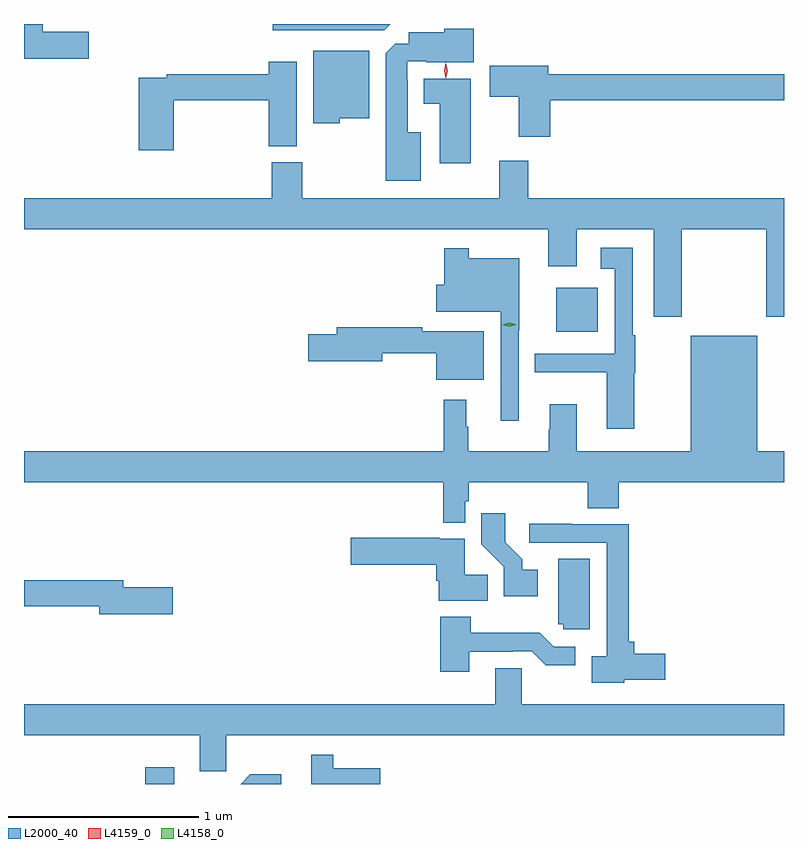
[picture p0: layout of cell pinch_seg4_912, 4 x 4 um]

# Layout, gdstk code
import gdstk
lib = gdstk.Library(unit=1e-6, precision=1e-09)
def R(c, l, rs):  # rectangles x0, y0, x1, y1
    for r in rs: c.add(gdstk.rectangle(r[:2], r[2:], *l))
def P(c, l, *ps):  # polygons
    for p in ps: c.add(gdstk.Polygon(p, *l))
L2000_40 = (2000, 40)
L4158_0 = (4158, 0)
L4159_0 = (4159, 0)

pinch_seg4_912 = lib.new_cell('pinch_seg4_912')
R(pinch_seg4_912, L2000_40, [(676.853,825.868,677.005,825.955), (679.016,828.248,679.234,828.481)])
P(pinch_seg4_912, L2000_40, [(676.555,829.827),(676.313,829.827),(676.313,829.868),(676.215,829.868),(676.215,829.685),(676.555,829.685)],
  [(678.143,829.868),(677.523,829.868),(677.523,829.836),(678.111,829.836)],
  [(678.304,829.297),(678.235,829.297),(678.235,829.571),(678.231,829.571),(678.231,829.671),(678.331,829.671),(678.331,829.667),(678.583,829.667),(678.583,829.843),(678.426,829.843),(678.426,829.825),(678.239,829.825),(678.239,829.764),(678.168,829.764),(678.119,829.715),(678.119,829.043),(678.304,829.043)],
  [(677.877,829.373),(678.031,829.373),(678.031,829.726),(677.738,829.726),(677.738,829.346),(677.877,829.346)],
  [(677.003,829.468),(677.504,829.468),(677.504,829.225),(677.65,829.225),(677.65,829.669),(677.504,829.669),(677.504,829.604),(676.966,829.604),(676.966,829.584),(676.82,829.584),(676.82,829.203),(677.003,829.203)],
  [(678.986,829.468),(680.215,829.468),(680.215,829.604),(678.973,829.604),(678.973,829.648),(678.666,829.648),(678.666,829.486),(678.818,829.486),(678.818,829.275),(678.986,829.275)],
  [(678.565,829.579),(678.32,829.579),(678.32,829.448),(678.404,829.448),(678.404,829.134),(678.565,829.134)],
  [(679.677,828.788),(680.122,828.788),(680.122,828.327),(680.215,828.327),(680.215,828.952),(678.869,828.952),(678.869,829.147),(678.716,829.147),(678.716,828.952),(677.679,828.952),(677.679,829.14),(677.519,829.14),(677.519,828.952),(676.215,828.952),(676.215,828.788),(678.974,828.788),(678.974,828.594),(679.123,828.594),(679.123,828.788),(679.529,828.788),(679.529,828.327),(679.677,828.327)],
  [(679.428,828.029),(679.432,828.029),(679.432,828.229),(679.419,828.229),(679.419,828.691),(679.251,828.691),(679.251,828.581),(679.323,828.581),(679.323,828.132),(678.904,828.132),(678.904,828.035),(679.283,828.035),(679.283,827.739),(679.428,827.739)],
  [(678.819,828.257),(678.821,828.257),(678.821,828.634),(678.556,828.634),(678.556,828.688),(678.427,828.688),(678.427,828.495),(678.386,828.495),(678.386,828.353),(678.723,828.353),(678.723,827.781),(678.819,827.781)],
  [(678.634,828.252),(678.31,828.252),(678.31,828.272),(677.861,828.272),(677.861,828.236),(677.712,828.236),(677.712,828.094),(678.1,828.094),(678.1,828.136),(678.386,828.136),(678.386,827.996),(678.634,827.996)],
  [(678.537,827.355),(678.557,827.355),(678.557,827.456),(679.181,827.456),(679.181,827.32),(679.346,827.32),(679.346,827.456),(680.215,827.456),(680.215,827.62),(680.074,827.62),(680.074,828.226),(679.724,828.226),(679.724,827.62),(679.123,827.62),(679.123,827.866),(678.983,827.866),(678.983,827.735),(678.976,827.735),(678.976,827.62),(678.553,827.62),(678.553,827.747),(678.542,827.747),(678.542,827.89),(678.424,827.89),(678.424,827.62),(676.215,827.62),(676.215,827.456),(678.421,827.456),(678.421,827.243),(678.537,827.243)],
  [(678.919,826.996),(678.838,826.996),(678.838,827.051),(678.748,827.141),(678.748,827.293),(678.622,827.293),(678.622,827.13),(678.741,827.011),(678.741,826.856),(678.919,826.856)],
  [(679.374,826.418),(679.591,826.418),(679.591,826.553),(679.427,826.553),(679.427,826.618),(679.397,826.618),(679.397,827.235),(679.097,827.235),(679.097,827.238),(678.873,827.238),(678.873,827.139),(679.281,827.139),(679.281,826.54),(679.202,826.54),(679.202,826.4),(679.374,826.4)],
  [(678.656,826.97),(678.535,826.97),(678.535,827.158),(678.402,827.158),(678.402,827.163),(677.934,827.163),(677.934,827.021),(678.386,827.021),(678.386,826.937),(678.398,826.937),(678.398,826.832),(678.656,826.832)],
  [(679.192,827.054),(679.028,827.054),(679.028,826.71),(679.053,826.71),(679.053,826.683),(679.192,826.683)],
  [(676.999,826.904),(676.738,826.904),(676.738,826.94),(676.215,826.94),(676.215,826.804),(676.61,826.804),(676.61,826.762),(676.999,826.762)],
  [(678.559,826.563),(678.788,826.563),(678.788,826.566),(678.888,826.566),(678.961,826.493),(679.117,826.493),(679.117,826.59),(679.002,826.59),(678.929,826.663),(678.567,826.663),(678.567,826.747),(678.407,826.747),(678.407,826.458),(678.559,826.458)],
  [(677.28,826.124),(680.215,826.124),(680.215,826.288),(678.834,826.288),(678.834,826.478),(678.695,826.478),(678.695,826.288),(676.215,826.288),(676.215,826.124),(677.141,826.124),(677.141,825.934),(677.28,825.934)],
  [(678.091,825.952),(677.843,825.952),(677.843,826.021),(677.726,826.021),(677.726,825.868),(678.091,825.868)],
  [(677.569,825.919),(677.407,825.919),(677.356,825.868),(677.569,825.868)])
P(pinch_seg4_912, L4158_0, [(678.769,828.275),(678.733,828.284),(678.733,828.284),(678.733,828.284),(678.768,828.295),(678.804,828.287),(678.804,828.287),(678.804,828.286)])
P(pinch_seg4_912, L4159_0, [(678.436,829.582),(678.436,829.582),(678.426,829.623),(678.436,829.664),(678.436,829.664),(678.436,829.664),(678.446,829.623),(678.436,829.582)])

lib.write_gds('pinch_seg4_912.gds')
